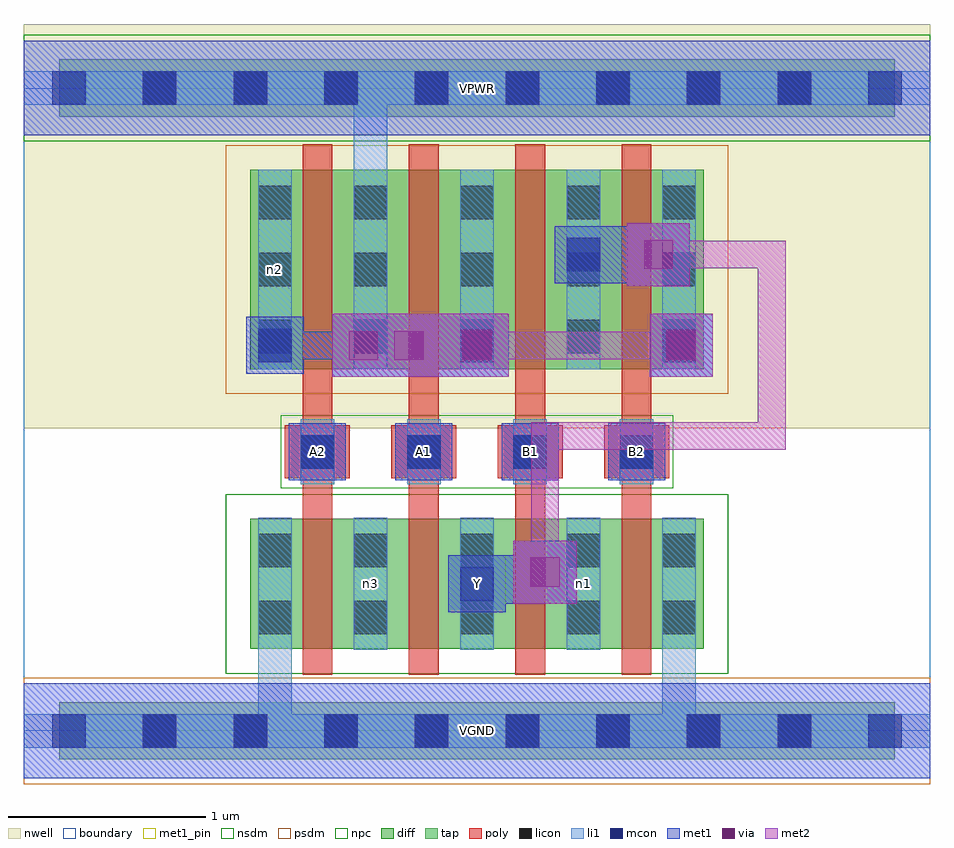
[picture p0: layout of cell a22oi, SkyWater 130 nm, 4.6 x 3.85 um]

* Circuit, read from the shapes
.subckt a22oi A1 A2 B1 B2 VGND VPWR Y n1 n2 n3
XM1 n3 A2 VGND VGND sky130_fd_pr__nfet_01v8 w=0.66 l=0.15
XM2 Y A1 n3 VGND sky130_fd_pr__nfet_01v8 w=0.66 l=0.15
XM3 n1 B1 Y VGND sky130_fd_pr__nfet_01v8 w=0.66 l=0.15
XM4 VGND B2 n1 VGND sky130_fd_pr__nfet_01v8 w=0.66 l=0.15
XM5 VPWR A2 n2 VPWR sky130_fd_pr__pfet_01v8 w=1.01 l=0.15
XM6 n2 A1 VPWR VPWR sky130_fd_pr__pfet_01v8 w=1.01 l=0.15
XM7 Y B1 n2 VPWR sky130_fd_pr__pfet_01v8 w=1.01 l=0.15
XM8 n2 B2 Y VPWR sky130_fd_pr__pfet_01v8 w=1.01 l=0.15
.ends

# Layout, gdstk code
import gdstk
lib = gdstk.Library(unit=1e-6, precision=1e-09)
def R(c, l, rs):  # rectangles x0, y0, x1, y1
    for r in rs: c.add(gdstk.rectangle(r[:2], r[2:], *l))
def A(c, l, x, y, w, h, nx, ny, dx, dy):  # array of equal rectangles
    R(c, l, [(x+i*dx, y+j*dy, x+i*dx+w, y+j*dy+h) for i in range(nx) for j in range(ny)])
nwell = (64, 20)
diff = (65, 20)
tap = (65, 44)
poly = (66, 20)
licon = (66, 44)
li1 = (67, 20)
mcon = (67, 44)
met1_pin = (68, 16)
met1 = (68, 20)
via = (68, 44)
met2 = (69, 20)
nsdm = (93, 44)
psdm = (94, 20)
npc = (95, 20)
boundary = (235, 4)

a22oi = lib.new_cell('a22oi')
R(a22oi, nwell, [(0,1.535,4.6,3.585)])
R(a22oi, diff, [(1.15,0.415,3.45,1.075), (1.15,1.835,3.45,2.845)])
R(a22oi, tap, [(0.18,-0.145,4.42,0.145), (0.18,3.115,4.42,3.405)])
A(a22oi, poly, 1.415, 0.285, 0.15, 2.69, 4, 1, 0.54, 0)
A(a22oi, poly, 1.325, 1.28, 0.33, 0.27, 4, 1, 0.54, 0)
A(a22oi, licon, 0.605, -0.085, 0.17, 0.17, 8, 2, 0.46, 3.26)
A(a22oi, licon, 1.675, 0.49, 0.17, 0.17, 3, 2, 0.54, 0.34)
A(a22oi, licon, 1.405, 1.33, 0.17, 0.17, 4, 1, 0.54, 0)
A(a22oi, licon, 1.19, 1.915, 0.17, 0.17, 1, 3, 0, 0.34)
A(a22oi, licon, 1.675, 1.915, 0.17, 0.17, 3, 3, 0.54, 0.34)
A(a22oi, licon, 3.24, 1.915, 0.17, 0.17, 1, 3, 0, 0.34)
R(a22oi, licon, [(1.19,0.49,1.36,0.66), (3.24,0.49,3.41,0.66), (1.19,0.83,1.36,1), (3.24,0.83,3.41,1)])
A(a22oi, li1, 1.675, 0.41, 0.17, 0.67, 3, 1, 0.54, 0)
A(a22oi, li1, 1.405, 1.25, 0.17, 0.33, 4, 1, 0.54, 0)
A(a22oi, li1, 1.675, 1.835, 0.17, 1.01, 3, 1, 0.54, 0)
R(a22oi, li1, [(0,-0.085,4.6,0.085), (1.19,-0.085,1.36,1.08), (3.24,-0.085,3.41,1.08), (1.19,0.41,1.36,1.08), (3.24,0.41,3.41,1.08), (1.19,1.835,1.36,2.845), (1.675,1.835,1.845,3.345), (3.24,1.835,3.41,2.845), (0,3.175,4.6,3.345)])
A(a22oi, mcon, 0.145, -0.085, 0.17, 0.17, 10, 2, 0.46, 3.26)
A(a22oi, mcon, 1.405, 1.33, 0.17, 0.17, 4, 1, 0.54, 0)
A(a22oi, mcon, 1.19, 1.87, 0.17, 0.17, 3, 1, 1.025, 0)
R(a22oi, mcon, [(2.215,0.66,2.385,0.83), (2.755,2.33,2.925,2.5)])
A(a22oi, met1_pin, 1.345, 1.27, 0.29, 0.29, 4, 1, 0.54, 0)
R(a22oi, met1_pin, [(0,-0.24,4.6,0.24), (2.155,0.6,2.445,0.89), (0,3.02,4.6,3.5)])
A(a22oi, met1, 1.345, 1.27, 0.29, 0.29, 4, 1, 0.54, 0)
A(a22oi, met1, 1.13, 1.81, 0.29, 0.29, 3, 1, 1.025, 0)
R(a22oi, met1, [(0,-0.24,4.6,0.24), (2.155,0.6,2.445,0.89), (2.445,0.645,2.485,0.89), (2.485,0.645,2.805,0.965), (2.23,0.735,2.715,0.875), (2.23,0.735,2.37,0.875), (1.565,1.795,1.885,2.115), (1.795,1.795,2.115,2.115), (2.115,1.795,2.14,2.115), (2.14,1.795,2.46,2.115), (3.175,1.795,3.495,2.115), (2.115,1.81,2.155,2.1), (1.205,1.885,1.45,2.025), (1.31,1.885,1.795,2.025), (1.885,1.885,2.37,2.025), (3.255,1.885,3.405,2.025), (3.06,2.255,3.38,2.575), (2.695,2.27,2.985,2.56), (2.985,2.27,3.06,2.56), (2.77,2.345,3.06,2.485), (2.92,2.345,3.29,2.485), (0,3.02,4.6,3.5)])
R(a22oi, via, [(2.57,0.73,2.72,0.88), (1.65,1.88,1.8,2.03), (1.88,1.88,2.03,2.03), (2.225,1.88,2.375,2.03), (3.26,1.88,3.41,2.03), (3.145,2.34,3.295,2.49)])
R(a22oi, met2, [(2.485,0.645,2.805,0.965), (2.575,0.735,2.715,1.565), (2.575,1.425,3.865,1.565), (3.725,1.425,3.865,2.485), (1.565,1.795,1.885,2.115), (1.795,1.795,2.115,2.115), (2.115,1.795,2.14,2.115), (2.14,1.795,2.46,2.115), (3.175,1.795,3.495,2.115), (1.655,1.885,2.025,2.025), (2.025,1.885,2.14,2.025), (2.115,1.885,2.23,2.025), (2.23,1.885,3.405,2.025), (3.06,2.255,3.38,2.575), (3.15,2.345,3.865,2.485)])
R(a22oi, nsdm, [(1.025,0.29,3.575,1.2), (0,2.99,4.6,3.53)])
R(a22oi, psdm, [(0,-0.27,4.6,0.27), (1.025,1.71,3.575,2.97)])
R(a22oi, npc, [(1.305,1.23,3.295,1.6)])
R(a22oi, boundary, [(0,0,4.6,3.26)])
a22oi.add(gdstk.Label('n3', (1.76,0.745), layer=67, texttype=5))
a22oi.add(gdstk.Label('n1', (2.84,0.745), layer=67, texttype=5))
a22oi.add(gdstk.Label('n2', (1.275,2.34), layer=67, texttype=5))
a22oi.add(gdstk.Label('A1', (2.03,1.415), layer=68, texttype=5))
a22oi.add(gdstk.Label('A2', (1.49,1.415), layer=68, texttype=5))
a22oi.add(gdstk.Label('B1', (2.57,1.415), layer=68, texttype=5))
a22oi.add(gdstk.Label('B2', (3.11,1.415), layer=68, texttype=5))
a22oi.add(gdstk.Label('Y', (2.3,0.745), layer=68, texttype=5))
a22oi.add(gdstk.Label('VPWR', (2.3,3.26), layer=68, texttype=5))
a22oi.add(gdstk.Label('VGND', (2.3,0), layer=68, texttype=5))
a22oi.add(gdstk.Label('A1', (2.03,1.415), layer=68, texttype=16))
a22oi.add(gdstk.Label('A2', (1.49,1.415), layer=68, texttype=16))
a22oi.add(gdstk.Label('B1', (2.57,1.415), layer=68, texttype=16))
a22oi.add(gdstk.Label('B2', (3.11,1.415), layer=68, texttype=16))
a22oi.add(gdstk.Label('Y', (2.3,0.745), layer=68, texttype=16))
a22oi.add(gdstk.Label('VPWR', (2.3,3.26), layer=68, texttype=16))
a22oi.add(gdstk.Label('VGND', (2.3,0), layer=68, texttype=16))

lib.write_gds('a22oi.gds')
